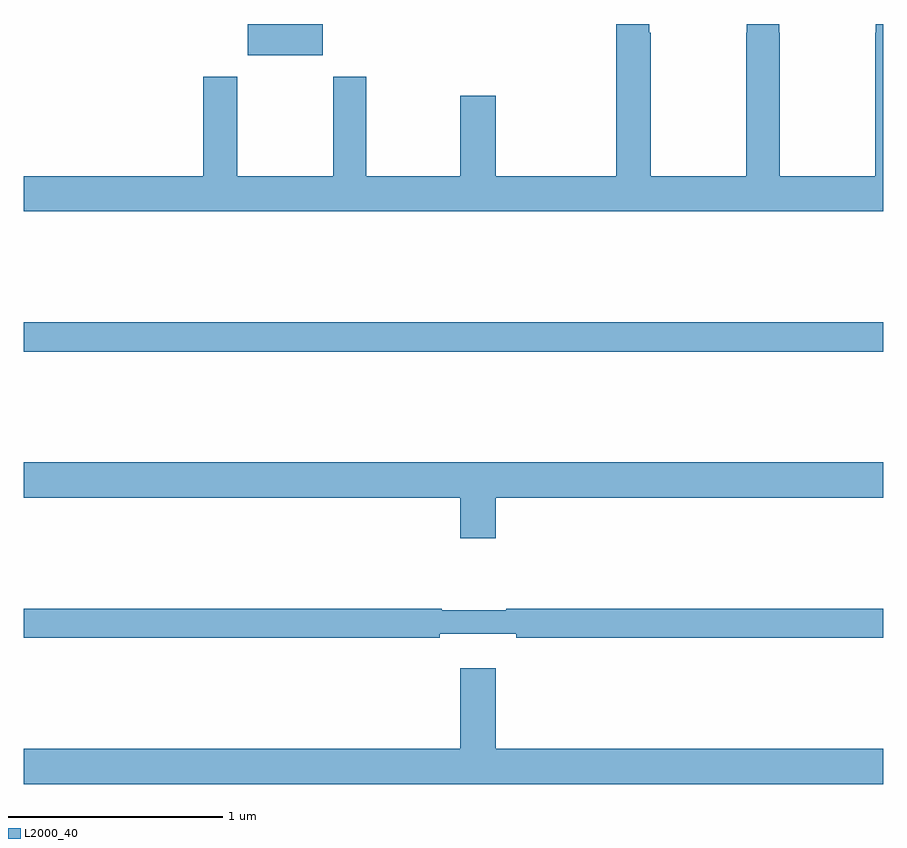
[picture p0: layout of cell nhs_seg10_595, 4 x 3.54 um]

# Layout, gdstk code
import gdstk
lib = gdstk.Library(unit=1e-6, precision=1e-09)
def R(c, l, rs):  # rectangles x0, y0, x1, y1
    for r in rs: c.add(gdstk.rectangle(r[:2], r[2:], *l))
def P(c, l, *ps):  # polygons
    for p in ps: c.add(gdstk.Polygon(p, *l))
L2000_40 = (2000, 40)

nhs_seg10_595 = lib.new_cell('nhs_seg10_595')
R(nhs_seg10_595, L2000_40, [(139,1320.976,143,1321.112), (140.042,1322.354,140.392,1322.5)])
P(nhs_seg10_595, L2000_40, [(143,1322.5),(142.965,1322.5),(142.965,1322.459),(142.963,1322.459),(142.963,1321.792),(142.518,1321.792),(142.518,1322.459),(142.515,1322.459),(142.515,1322.5),(142.365,1322.5),(142.365,1322.459),(142.363,1322.459),(142.363,1321.792),(141.918,1321.792),(141.918,1322.459),(141.911,1322.459),(141.911,1322.5),(141.758,1322.5),(141.758,1321.792),(141.196,1321.792),(141.196,1322.167),(141.032,1322.167),(141.032,1321.792),(140.595,1321.792),(140.595,1322.254),(140.44,1322.254),(140.44,1321.792),(139.995,1321.792),(139.995,1322.254),(139.835,1322.254),(139.835,1321.792),(139,1321.792),(139,1321.628),(143,1321.628)],
  [(141.196,1320.296),(143,1320.296),(143,1320.46),(139,1320.46),(139,1320.296),(141.032,1320.296),(141.032,1320.108),(141.196,1320.108)],
  [(140.936,1319.663),(141.292,1319.663),(141.292,1319.644),(143,1319.644),(143,1319.78),(141.245,1319.78),(141.245,1319.773),(140.945,1319.773),(140.945,1319.78),(139,1319.78),(139,1319.644),(140.936,1319.644)],
  [(143,1319.128),(141.196,1319.128),(141.196,1319.503),(141.032,1319.503),(141.032,1319.128),(139,1319.128),(139,1318.964),(143,1318.964)])

lib.write_gds('nhs_seg10_595.gds')
